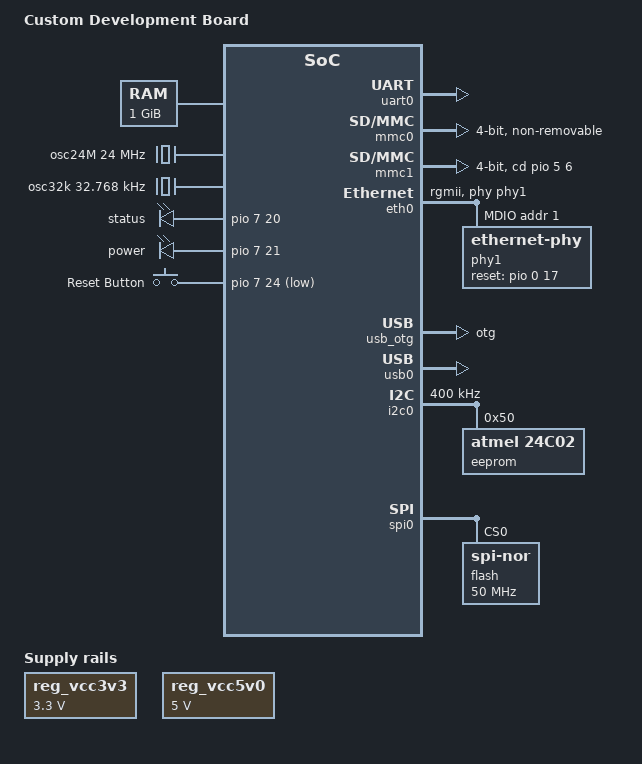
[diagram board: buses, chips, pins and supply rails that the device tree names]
/*
 * Device Tree for Custom Board
 *
 * Copyright (C) 2025 AI-Assisted Development Team
 * SPDX-License-Identifier: GPL-2.0+
 */

/dts-v1/;

#include "skeleton.dtsi"

/ {
    model = "Custom Development Board";
    compatible = "vendor,custom-board", "vendor,soc";

    aliases {
        serial0 = &uart0;
        mmc0 = &mmc0;
        ethernet0 = &eth0;
    };

    chosen {
        stdout-path = "serial0:115200n8";
        bootargs = "console=ttyS0,115200 root=/dev/mmcblk0p2 rootwait rw";
    };

    memory@80000000 {
        device_type = "memory";
        reg = <0x80000000 0x40000000>; /* 1GB DDR3 */
    };

    cpus {
        #address-cells = <1>;
        #size-cells = <0>;

        cpu@0 {
            device_type = "cpu";
            compatible = "arm,cortex-a7";
            reg = <0>;
            clock-frequency = <1000000000>; /* 1GHz */
        };

        cpu@1 {
            device_type = "cpu";
            compatible = "arm,cortex-a7";
            reg = <1>;
            clock-frequency = <1000000000>;
        };
    };

    clocks {
        osc24M: osc24M_clk {
            #clock-cells = <0>;
            compatible = "fixed-clock";
            clock-frequency = <24000000>;
            clock-output-names = "osc24M";
        };

        osc32k: osc32k_clk {
            #clock-cells = <0>;
            compatible = "fixed-clock";
            clock-frequency = <32768>;
            clock-output-names = "osc32k";
        };
    };

    soc {
        compatible = "simple-bus";
        #address-cells = <1>;
        #size-cells = <1>;
        ranges;

        uart0: serial@01c28000 {
            compatible = "snps,dw-apb-uart";
            reg = <0x01c28000 0x400>;
            interrupts = <0 0 4>;
            reg-shift = <2>;
            reg-io-width = <4>;
            clocks = <&osc24M>;
            status = "okay";
        };

        uart1: serial@01c28400 {
            compatible = "snps,dw-apb-uart";
            reg = <0x01c28400 0x400>;
            interrupts = <0 1 4>;
            reg-shift = <2>;
            reg-io-width = <4>;
            clocks = <&osc24M>;
            status = "disabled";
        };

        mmc0: mmc@01c0f000 {
            compatible = "vendor,soc-mmc";
            reg = <0x01c0f000 0x1000>;
            interrupts = <0 32 4>;
            clocks = <&osc24M>;
            bus-width = <4>;
            cap-sd-highspeed;
            cap-mmc-highspeed;
            non-removable;
            status = "okay";
        };

        mmc1: mmc@01c10000 {
            compatible = "vendor,soc-mmc";
            reg = <0x01c10000 0x1000>;
            interrupts = <0 33 4>;
            clocks = <&osc24M>;
            bus-width = <4>;
            cd-gpios = <&pio 5 6 0>; /* PF6 */
            status = "okay";
        };

        eth0: ethernet@01c30000 {
            compatible = "vendor,soc-gmac";
            reg = <0x01c30000 0x10000>;
            interrupts = <0 82 4>;
            interrupt-names = "macirq";
            clocks = <&osc24M>;
            clock-names = "stmmaceth";
            phy-mode = "rgmii";
            phy-handle = <&phy1>;
            status = "okay";

            mdio {
                #address-cells = <1>;
                #size-cells = <0>;
                compatible = "snps,dwmac-mdio";

                phy1: ethernet-phy@1 {
                    reg = <1>;
                    reset-gpios = <&pio 0 17 0>; /* PA17 */
                    reset-assert-us = <10000>;
                    reset-deassert-us = <50000>;
                };
            };
        };

        usb_otg: usb@01c19000 {
            compatible = "vendor,soc-otg";
            reg = <0x01c19000 0x1000>;
            interrupts = <0 71 4>;
            clocks = <&osc24M>;
            dr_mode = "otg";
            status = "okay";
        };

        usb0: usb@01c1a000 {
            compatible = "vendor,soc-ehci";
            reg = <0x01c1a000 0x1000>;
            interrupts = <0 72 4>;
            clocks = <&osc24M>;
            status = "okay";
        };

        pio: pinctrl@01c20800 {
            compatible = "vendor,soc-pinctrl";
            reg = <0x01c20800 0x400>;
            interrupts = <0 28 4>;
            clocks = <&osc24M>;
            gpio-controller;
            #gpio-cells = <3>;
            interrupt-controller;
            #interrupt-cells = <3>;

            uart0_pins: uart0-pins {
                pins = "PA4", "PA5";
                function = "uart0";
            };

            mmc0_pins: mmc0-pins {
                pins = "PF0", "PF1", "PF2", "PF3", "PF4", "PF5";
                function = "mmc0";
                drive-strength = <30>;
                bias-pull-up;
            };

            gmac_pins: gmac-pins {
                pins = "PA0", "PA1", "PA2", "PA3", "PA4",
                       "PA5", "PA6", "PA7", "PA8", "PA9",
                       "PA10", "PA11", "PA12", "PA13", "PA14",
                       "PA15", "PA16";
                function = "gmac";
                drive-strength = <40>;
            };
        };

        i2c0: i2c@01c2ac00 {
            compatible = "vendor,soc-i2c";
            reg = <0x01c2ac00 0x400>;
            interrupts = <0 7 4>;
            clocks = <&osc24M>;
            clock-frequency = <400000>;
            #address-cells = <1>;
            #size-cells = <0>;
            status = "okay";

            eeprom@50 {
                compatible = "atmel,24c02";
                reg = <0x50>;
                pagesize = <16>;
            };
        };

        spi0: spi@01c68000 {
            compatible = "vendor,soc-spi";
            reg = <0x01c68000 0x1000>;
            interrupts = <0 65 4>;
            clocks = <&osc24M>;
            #address-cells = <1>;
            #size-cells = <0>;
            status = "okay";

            flash@0 {
                compatible = "jedec,spi-nor";
                reg = <0>;
                spi-max-frequency = <50000000>;
                m25p,fast-read;
            };
        };

        watchdog: watchdog@01c20c90 {
            compatible = "vendor,soc-wdt";
            reg = <0x01c20c90 0x10>;
            clocks = <&osc24M>;
        };

        rtc: rtc@01c20d00 {
            compatible = "vendor,soc-rtc";
            reg = <0x01c20d00 0x20>;
            interrupts = <0 24 4>;
            clocks = <&osc32k>;
        };
    };

    leds {
        compatible = "gpio-leds";

        status_led: led-status {
            label = "status";
            gpios = <&pio 7 20 0>; /* PH20 */
            default-state = "on";
            linux,default-trigger = "heartbeat";
        };

        power_led: led-power {
            label = "power";
            gpios = <&pio 7 21 0>; /* PH21 */
            default-state = "on";
        };
    };

    gpio-keys {
        compatible = "gpio-keys";
        autorepeat;

        reset {
            label = "Reset Button";
            linux,code = <0x198>; /* KEY_RESTART */
            gpios = <&pio 7 24 1>; /* PH24, active low */
        };
    };

    regulators {
        compatible = "simple-bus";
        #address-cells = <1>;
        #size-cells = <0>;

        reg_vcc3v3: regulator@0 {
            compatible = "regulator-fixed";
            reg = <0>;
            regulator-name = "vcc3v3";
            regulator-min-microvolt = <3300000>;
            regulator-max-microvolt = <3300000>;
            regulator-always-on;
        };

        reg_vcc5v0: regulator@1 {
            compatible = "regulator-fixed";
            reg = <1>;
            regulator-name = "vcc5v0";
            regulator-min-microvolt = <5000000>;
            regulator-max-microvolt = <5000000>;
            regulator-always-on;
        };
    };
};
